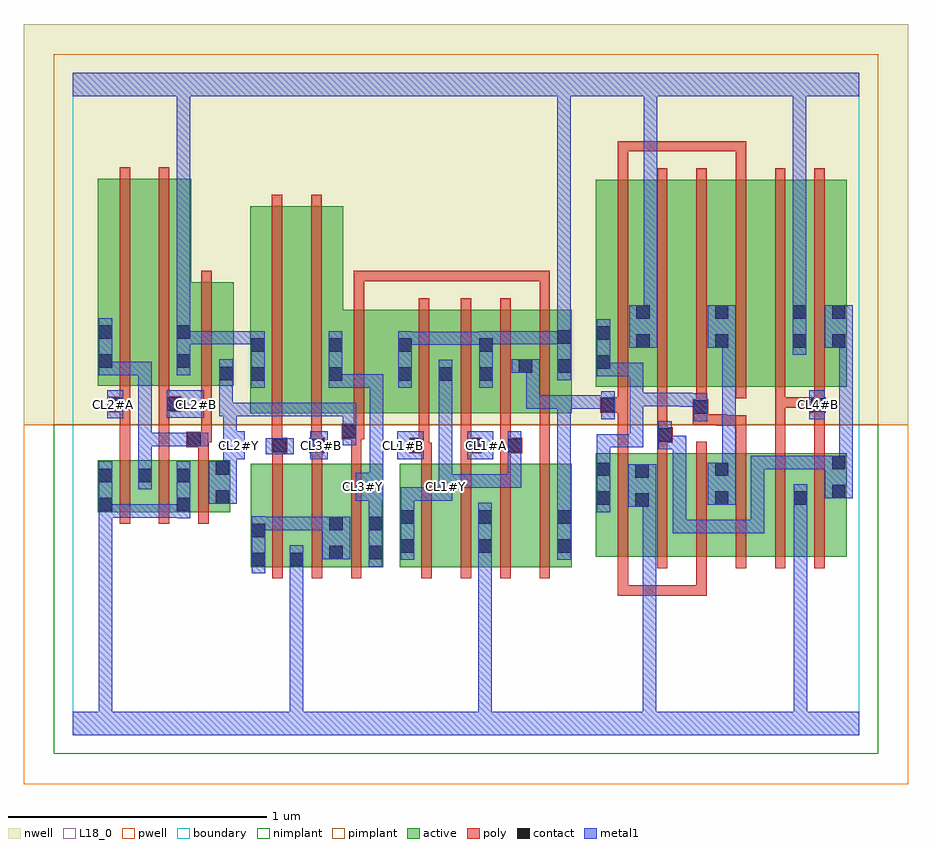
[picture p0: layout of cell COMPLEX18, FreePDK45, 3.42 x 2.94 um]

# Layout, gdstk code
import gdstk
lib = gdstk.Library(unit=1e-6, precision=1e-09)
def R(c, l, rs):  # rectangles x0, y0, x1, y1
    for r in rs: c.add(gdstk.rectangle(r[:2], r[2:], *l))
def A(c, l, x, y, w, h, nx, ny, dx, dy):  # array of equal rectangles
    R(c, l, [(x+i*dx, y+j*dy, x+i*dx+w, y+j*dy+h) for i in range(nx) for j in range(ny)])
active = (1, 0)
pwell = (2, 0)
nwell = (3, 0)
nimplant = (4, 0)
pimplant = (5, 0)
poly = (9, 0)
contact = (10, 0)
metal1 = (11, 0)
L18_0 = (18, 0)
boundary = (235, 0)

complex18 = lib.new_cell('COMPLEX18')
R(complex18, active, [(0.688,0.65,0.896,1.05), (0.688,0.65,0.748,1.05), (0.836,0.65,1.048,1.05), (0.836,0.65,0.896,0.71), (0.988,0.65,1.048,1.05), (0.988,0.65,1.2,1.05), (1.14,0.65,1.2,1.05), (1.264,0.65,1.444,1.05), (1.264,0.65,1.324,1.05), (1.444,0.65,1.624,1.05), (1.564,0.65,1.748,1.05), (1.748,0.65,1.928,1.05), (1.868,0.65,1.928,1.05), (2.022,0.69,2.23,1.09), (2.022,0.69,2.082,1.09), (2.17,0.69,2.354,1.09), (2.17,0.69,2.23,1.09), (2.354,0.69,2.538,1.09), (2.478,0.69,2.658,1.09), (2.478,0.69,2.538,1.09), (2.658,0.69,2.842,1.09), (2.782,0.69,2.99,1.09), (1.564,0.702,1.624,1.05), (2.782,0.756,2.842,0.946), (2.93,0.756,2.99,1.09), (0.098,0.862,0.158,1.062), (0.098,0.862,0.31,1.062), (0.25,0.862,0.458,1.062), (0.25,0.862,0.31,1.034), (0.398,0.862,0.458,1.062), (0.398,0.862,0.61,1.062), (0.55,0.862,0.61,1.062), (0.686,1.244,0.866,2.044), (0.686,1.244,0.746,2.044), (0.866,1.244,1.046,2.044), (0.986,1.244,1.046,1.644), (0.986,1.244,1.314,1.644), (1.254,1.244,1.314,1.644), (1.254,1.244,1.47,1.644), (1.41,1.244,1.47,1.644), (1.41,1.244,1.628,1.644), (1.568,1.244,1.628,1.644), (1.568,1.244,1.78,1.644), (1.72,1.244,1.928,1.644), (1.72,1.244,1.78,1.644), (1.868,1.244,1.928,1.644), (2.022,1.346,2.082,2.044), (2.022,1.346,2.234,2.146), (2.174,1.346,2.234,2.044), (2.174,1.346,2.354,2.146), (2.354,1.346,2.538,2.146), (2.478,1.346,2.538,2.044), (2.478,1.346,2.658,2.146), (2.658,1.346,2.838,2.146), (2.778,1.346,2.838,2.044), (2.778,1.346,2.99,2.146), (2.93,1.346,2.99,2.044), (0.098,1.35,0.278,2.15), (0.098,1.35,0.158,2.044), (0.278,1.35,0.458,2.15), (0.398,1.35,0.458,1.644), (0.398,1.35,0.622,1.75), (0.562,1.35,0.622,1.644)])
R(complex18, pwell, [(-0.188,-0.188,3.228,1.2)])
R(complex18, nwell, [(-0.188,1.2,3.228,2.748)])
R(complex18, nimplant, [(-0.072,-0.072,3.112,1.2)])
R(complex18, pimplant, [(-0.072,1.2,3.112,2.632)])
A(complex18, poly, 0.772, 0.606, 0.04, 0.488, 3, 1, 0.152, 0)
A(complex18, poly, 1.348, 0.606, 0.04, 0.488, 4, 1, 0.152, 0)
A(complex18, poly, 2.106, 0.646, 0.04, 0.488, 6, 1, 0.152, 0)
A(complex18, poly, 0.182, 0.818, 0.04, 0.288, 3, 1, 0.152, 0)
A(complex18, poly, 1.348, 1.054, 0.04, 0.076, 4, 1, 0.152, 0)
A(complex18, poly, 1.5, 1.2, 0.04, 0.488, 3, 1, 0.152, 0)
A(complex18, poly, 2.106, 1.302, 0.04, 0.888, 6, 1, 0.152, 0)
R(complex18, poly, [(2.106,0.54,2.146,0.58), (2.106,0.54,2.146,0.58), (2.106,0.54,2.146,0.58), (2.106,0.54,2.146,0.686), (2.106,0.54,2.33,0.58), (2.29,0.54,2.33,0.58), (2.29,0.54,2.33,0.58), (2.29,0.54,2.33,0.58), (2.29,0.54,2.45,0.58), (2.41,0.54,2.45,0.58), (2.41,0.54,2.45,0.686), (0.772,1.054,0.812,1.13), (0.924,1.054,0.964,1.13), (1.076,1.054,1.116,1.184), (0.182,1.066,0.222,1.288), (0.334,1.066,0.374,1.29), (0.486,1.066,0.526,1.152), (0.77,1.09,0.83,1.15), (0.914,1.09,0.974,1.15), (1.3,1.09,1.378,1.15), (1.338,1.09,1.378,1.13), (1.338,1.09,1.388,1.13), (1.5,1.09,1.54,1.13), (1.5,1.09,1.54,1.13), (1.5,1.09,1.58,1.15), (1.652,1.09,1.738,1.15), (1.804,1.09,1.844,1.13), (1.804,1.09,1.844,1.13), (1.804,1.09,1.844,1.13), (1.804,1.09,1.844,1.24), (2.106,1.094,2.146,1.286), (2.258,1.094,2.298,1.17), (2.562,1.094,2.602,1.236), (2.714,1.094,2.754,1.306), (2.866,1.094,2.906,1.286), (0.77,1.11,0.81,1.15), (0.77,1.11,0.81,1.15), (0.77,1.11,0.81,1.24), (0.922,1.11,0.962,1.15), (0.922,1.11,0.962,1.15), (0.922,1.11,0.962,1.24), (1.338,1.11,1.378,1.24), (1.5,1.11,1.54,1.24), (1.652,1.11,1.692,1.15), (1.652,1.11,1.692,1.15), (1.652,1.11,1.692,1.24), (0.44,1.112,0.526,1.172), (2.258,1.13,2.318,1.19), (0.486,1.132,0.526,1.172), (0.486,1.132,0.538,1.172), (0.498,1.132,0.538,1.346), (1.04,1.144,1.126,1.204), (1.076,1.144,1.116,1.184), (1.076,1.144,1.116,1.184), (2.258,1.15,2.298,1.19), (2.258,1.15,2.298,1.19), (2.258,1.15,2.298,1.342), (1.086,1.164,1.126,1.24), (2.486,1.196,2.602,1.236), (2.486,1.196,2.526,1.24), (2.562,1.196,2.602,1.236), (2.562,1.196,2.602,1.236), (2.562,1.196,2.602,1.236), (0.77,1.2,0.81,2.088), (0.922,1.2,0.962,2.088), (1.086,1.2,1.126,1.688), (1.338,1.2,1.378,1.688), (2.396,1.2,2.456,1.298), (2.416,1.2,2.526,1.24), (2.038,1.246,2.146,1.306), (2.106,1.246,2.146,1.286), (2.106,1.246,2.146,1.286), (2.85,1.246,2.91,1.306), (0.14,1.248,0.222,1.308), (0.334,1.25,0.374,1.29), (0.334,1.25,0.374,1.29), (0.334,1.25,0.42,1.31), (2.41,1.258,2.45,1.342), (2.106,1.266,2.146,1.342), (2.714,1.266,2.754,1.342), (2.714,1.266,2.754,1.306), (2.714,1.266,2.754,1.306), (2.714,1.266,2.754,1.306), (2.714,1.266,2.754,1.306), (2.714,1.266,2.754,1.306), (2.714,1.266,2.906,1.306), (2.866,1.266,2.906,1.342), (2.866,1.266,2.906,1.306), (2.866,1.266,2.906,1.306), (0.182,1.268,0.222,1.308), (0.182,1.268,0.222,1.308), (0.182,1.268,0.222,1.346), (0.334,1.27,0.374,1.346), (0.182,1.306,0.222,2.194), (0.334,1.306,0.374,2.194), (0.498,1.306,0.538,1.794), (1.086,1.648,1.126,1.794), (1.804,1.648,1.844,1.794), (1.086,1.754,1.126,1.794), (1.086,1.754,1.126,1.794), (1.086,1.754,1.126,1.794), (1.086,1.754,1.232,1.794), (1.192,1.754,1.232,1.794), (1.192,1.754,1.232,1.794), (1.192,1.754,1.232,1.794), (1.192,1.754,1.338,1.794), (1.298,1.754,1.338,1.794), (1.298,1.754,1.338,1.794), (1.298,1.754,1.338,1.794), (1.298,1.754,1.494,1.794), (1.454,1.754,1.494,1.794), (1.454,1.754,1.494,1.794), (1.454,1.754,1.494,1.794), (1.454,1.754,1.844,1.794), (1.804,1.754,1.844,1.794), (1.804,1.754,1.844,1.794), (1.804,1.754,1.844,1.794), (2.106,2.15,2.146,2.296), (2.562,2.15,2.602,2.296), (2.106,2.256,2.146,2.296), (2.106,2.256,2.146,2.296), (2.106,2.256,2.146,2.296), (2.106,2.256,2.33,2.296), (2.29,2.256,2.33,2.296), (2.29,2.256,2.33,2.296), (2.29,2.256,2.33,2.296), (2.29,2.256,2.436,2.296), (2.396,2.256,2.436,2.296), (2.396,2.256,2.602,2.296), (2.562,2.256,2.602,2.296), (2.562,2.256,2.602,2.296), (2.562,2.256,2.602,2.296)])
R(complex18, contact, [(0.692,0.654,0.744,0.706), (0.84,0.654,0.892,0.706), (0.992,0.68,1.044,0.732), (1.144,0.68,1.196,0.732), (1.268,0.706,1.32,0.758), (1.568,0.706,1.62,0.758), (1.872,0.706,1.924,0.758), (0.692,0.766,0.744,0.818), (0.992,0.792,1.044,0.844), (1.144,0.792,1.196,0.844), (1.268,0.818,1.32,0.87), (1.568,0.818,1.62,0.87), (1.872,0.818,1.924,0.87), (0.102,0.866,0.154,0.918), (0.402,0.866,0.454,0.918), (2.174,0.884,2.226,0.936), (2.026,0.89,2.078,0.942), (2.482,0.89,2.534,0.942), (2.786,0.89,2.838,0.942), (0.554,0.894,0.606,0.946), (2.934,0.916,2.986,0.968), (0.102,0.978,0.154,1.03), (0.254,0.978,0.306,1.03), (0.402,0.978,0.454,1.03), (2.174,0.996,2.226,1.048), (2.026,1.002,2.078,1.054), (2.482,1.002,2.534,1.054), (0.554,1.006,0.606,1.058), (2.934,1.028,2.986,1.08), (0.774,1.094,0.826,1.146), (0.918,1.094,0.97,1.146), (1.304,1.094,1.356,1.146), (1.524,1.094,1.576,1.146), (1.682,1.094,1.734,1.146), (0.444,1.116,0.496,1.168), (2.262,1.134,2.314,1.186), (1.044,1.148,1.096,1.2), (2.4,1.242,2.452,1.294), (2.042,1.25,2.094,1.302), (2.854,1.25,2.906,1.302), (0.144,1.252,0.196,1.304), (0.364,1.254,0.416,1.306), (0.69,1.37,0.742,1.422), (0.99,1.37,1.042,1.422), (1.258,1.37,1.31,1.422), (1.414,1.37,1.466,1.422), (1.572,1.37,1.624,1.422), (0.566,1.372,0.618,1.424), (1.724,1.4,1.776,1.452), (1.872,1.4,1.924,1.452), (2.026,1.416,2.078,1.468), (0.102,1.42,0.154,1.472), (0.402,1.42,0.454,1.472), (0.69,1.482,0.742,1.534), (0.99,1.482,1.042,1.534), (1.258,1.482,1.31,1.534), (1.572,1.482,1.624,1.534), (2.178,1.498,2.23,1.55), (2.482,1.498,2.534,1.55), (2.782,1.498,2.834,1.55), (2.934,1.498,2.986,1.55), (1.872,1.512,1.924,1.564), (2.026,1.528,2.078,1.58), (0.102,1.532,0.154,1.584), (0.402,1.532,0.454,1.584), (2.178,1.61,2.23,1.662), (2.482,1.61,2.534,1.662), (2.782,1.61,2.834,1.662), (2.934,1.61,2.986,1.662)])
A(complex18, metal1, 0.692, 0.792, 0.052, 0.052, 3, 1, 0.11, 0)
R(complex18, metal1, [(0,0,3.04,0.092), (0.102,0.04,0.154,0.092), (0.102,0.04,0.154,0.092), (0.102,0.04,0.154,0.092), (0.102,0.04,0.154,0.092), (0.102,0.04,0.154,0.89), (0.84,0.04,0.892,0.092), (0.84,0.04,0.892,0.092), (0.84,0.04,0.892,0.092), (0.84,0.04,0.892,0.092), (0.84,0.04,0.892,0.092), (0.84,0.04,0.892,0.092), (0.84,0.04,0.892,0.092), (0.84,0.04,0.892,0.092), (0.84,0.04,0.892,0.092), (0.84,0.04,0.892,0.092), (0.84,0.04,0.892,0.678), (1.568,0.04,1.62,0.092), (1.568,0.04,1.62,0.092), (1.568,0.04,1.62,0.092), (1.568,0.04,1.62,0.092), (1.568,0.04,1.62,0.73), (2.202,0.04,2.254,0.092), (2.202,0.04,2.254,0.092), (2.202,0.04,2.254,0.092), (2.202,0.04,2.254,0.092), (2.202,0.04,2.254,0.092), (2.202,0.04,2.254,0.092), (2.202,0.04,2.254,0.092), (2.202,0.04,2.254,0.092), (2.202,0.04,2.254,0.832), (2.786,0.04,2.838,0.092), (2.786,0.04,2.838,0.092), (2.786,0.04,2.838,0.092), (2.786,0.04,2.838,0.092), (2.786,0.04,2.838,0.092), (2.786,0.04,2.838,0.092), (2.786,0.04,2.838,0.092), (2.786,0.04,2.838,0.092), (2.786,0.04,2.838,0.092), (2.786,0.04,2.838,0.092), (2.786,0.04,2.838,0.914), (0.692,0.626,0.744,0.846), (0.84,0.626,0.892,0.678), (0.84,0.626,0.892,0.678), (0.84,0.626,0.892,0.734), (1.144,0.652,1.196,0.872), (1.268,0.678,1.32,0.898), (1.568,0.678,1.62,0.73), (1.568,0.678,1.62,0.73), (1.568,0.678,1.62,0.73), (1.568,0.678,1.62,0.73), (1.568,0.678,1.62,0.73), (1.568,0.678,1.62,0.73), (1.568,0.678,1.62,0.73), (1.568,0.678,1.62,0.73), (1.568,0.678,1.62,0.898), (1.872,0.678,1.924,0.898), (0.964,0.68,1.072,0.844), (2.202,0.78,2.254,0.832), (2.202,0.78,2.254,0.832), (2.202,0.78,2.254,0.832), (2.202,0.78,2.254,0.936), (2.318,0.78,2.37,0.832), (2.318,0.78,2.562,0.832), (2.318,0.78,2.37,1.158), (2.51,0.78,2.562,0.832), (2.51,0.78,2.562,0.832), (2.51,0.78,2.562,0.832), (2.51,0.78,2.672,0.832), (2.62,0.78,2.672,0.832), (2.62,0.78,2.672,0.832), (2.62,0.78,2.672,0.832), (2.62,0.78,2.672,1.08), (0.692,0.792,0.744,0.844), (0.692,0.792,0.854,0.844), (0.802,0.792,0.964,0.844), (0.912,0.792,1.016,0.844), (1.144,0.82,1.196,0.958), (0.102,0.838,0.154,0.89), (0.102,0.838,0.154,0.89), (0.102,0.838,0.154,0.89), (0.102,0.838,0.154,0.89), (0.102,0.838,0.154,0.89), (0.102,0.838,0.154,0.89), (0.102,0.838,0.154,0.89), (0.102,0.838,0.154,0.89), (0.102,0.838,0.154,0.89), (0.102,0.838,0.154,0.89), (0.102,0.838,0.154,0.89), (0.102,0.838,0.154,0.89), (0.102,0.838,0.154,1.058), (0.402,0.838,0.454,1.058), (0.102,0.84,0.154,0.892), (0.102,0.84,0.154,0.892), (0.102,0.84,0.344,0.892), (0.292,0.84,0.344,0.892), (0.292,0.84,0.344,0.892), (0.292,0.84,0.344,0.892), (0.292,0.84,0.454,0.892), (1.268,0.846,1.32,0.958), (1.872,0.846,1.924,1.314), (2.026,0.862,2.078,1.082), (2.786,0.862,2.838,0.914), (2.786,0.862,2.838,0.914), (2.786,0.862,2.838,0.97), (2.146,0.884,2.254,1.048), (2.454,0.89,2.562,1.054), (0.526,0.894,0.634,1.058), (1.094,0.906,1.2,1.014), (1.268,0.906,1.32,0.958), (1.268,0.906,1.32,0.958), (1.268,0.906,1.32,0.958), (1.268,0.906,1.466,0.958), (1.414,0.906,1.466,1.014), (2.906,0.916,3.014,1.08), (0.254,0.95,0.306,1.058), (1.414,0.956,1.466,1.008), (1.414,0.956,1.466,1.008), (1.414,0.956,1.576,1.008), (1.524,0.956,1.576,1.008), (1.524,0.956,1.734,1.008), (1.682,0.956,1.734,1.174), (1.148,0.962,1.2,1.014), (1.148,0.962,1.2,1.014), (1.148,0.962,1.2,1.394), (1.414,0.962,1.466,1.014), (1.414,0.962,1.466,1.014), (1.414,0.962,1.466,1.394), (2.51,1.002,2.562,1.054), (2.51,1.002,2.562,1.054), (2.51,1.002,2.562,1.054), (2.51,1.002,2.562,1.054), (2.51,1.002,2.562,1.55), (0.254,1.006,0.306,1.168), (0.582,1.006,0.634,1.118), (2.62,1.028,2.672,1.08), (2.62,1.028,2.788,1.08), (2.736,1.028,2.788,1.08), (2.736,1.028,2.788,1.08), (2.736,1.028,2.788,1.08), (2.736,1.028,2.958,1.08), (2.906,1.028,2.958,1.08), (2.906,1.028,2.958,1.08), (2.962,1.028,3.014,1.08), (2.962,1.028,3.014,1.08), (2.962,1.028,3.014,1.55), (2.026,1.03,2.078,1.164), (0.582,1.066,0.666,1.174), (0.918,1.066,0.986,1.174), (1.254,1.066,1.356,1.174), (1.524,1.066,1.626,1.174), (0.746,1.086,0.854,1.148), (2.262,1.106,2.314,1.214), (2.262,1.106,2.37,1.158), (2.318,1.106,2.37,1.158), (2.318,1.106,2.37,1.158), (2.318,1.106,2.37,1.158), (2.026,1.112,2.078,1.164), (2.026,1.112,2.078,1.164), (2.026,1.112,2.078,1.164), (2.026,1.112,2.204,1.164), (2.152,1.112,2.204,1.164), (2.152,1.112,2.204,1.324), (0.254,1.116,0.306,1.168), (0.254,1.116,0.306,1.168), (0.254,1.116,0.306,1.168), (0.254,1.116,0.468,1.168), (0.254,1.116,0.306,1.444), (0.416,1.116,0.468,1.168), (0.416,1.116,0.468,1.168), (0.416,1.116,0.524,1.168), (1.044,1.12,1.096,1.284), (0.582,1.122,0.634,1.284), (2.4,1.214,2.452,1.322), (2.042,1.222,2.094,1.33), (2.846,1.222,2.906,1.334), (0.134,1.224,0.196,1.334), (0.364,1.226,0.506,1.334), (0.566,1.232,0.618,1.396), (0.566,1.232,0.634,1.284), (0.582,1.232,0.634,1.284), (0.582,1.232,0.634,1.284), (0.582,1.232,0.854,1.284), (0.802,1.232,0.854,1.284), (0.802,1.232,0.854,1.284), (0.802,1.232,0.854,1.284), (0.802,1.232,0.964,1.284), (0.912,1.232,0.964,1.284), (0.912,1.232,0.964,1.284), (0.912,1.232,0.964,1.284), (0.912,1.232,1.096,1.284), (1.752,1.262,1.804,1.314), (1.752,1.262,1.804,1.314), (1.752,1.262,1.804,1.314), (1.752,1.262,1.924,1.314), (1.752,1.262,1.804,1.452), (1.872,1.262,1.924,1.314), (1.872,1.262,1.924,1.314), (1.872,1.262,1.924,1.314), (1.872,1.262,1.924,1.314), (1.872,1.262,1.924,1.314), (1.872,1.262,2.094,1.314), (2.344,1.27,2.452,1.322), (2.344,1.27,2.396,1.324), (2.152,1.272,2.204,1.324), (2.152,1.272,2.204,1.324), (2.152,1.272,2.204,1.324), (2.152,1.272,2.396,1.324), (2.152,1.272,2.204,1.44), (0.69,1.342,0.742,1.562), (0.99,1.342,1.042,1.562), (0.99,1.342,1.196,1.394), (1.144,1.342,1.196,1.394), (1.144,1.342,1.2,1.394), (1.148,1.342,1.2,1.394), (1.258,1.342,1.31,1.562), (1.414,1.342,1.466,1.45), (1.572,1.342,1.624,1.562), (0.566,1.344,0.618,1.452), (1.872,1.372,1.924,1.592), (2.026,1.388,2.078,1.44), (2.026,1.388,2.078,1.44), (2.026,1.388,2.078,1.608), (2.026,1.388,2.204,1.44), (2.152,1.388,2.204,1.44), (0.102,1.392,0.154,1.444), (0.102,1.392,0.154,1.444), (0.102,1.392,0.154,1.444), (0.102,1.392,0.154,1.444), (0.102,1.392,0.154,1.612), (0.102,1.392,0.306,1.444), (0.254,1.392,0.306,1.444), (0.402,1.392,0.454,1.612), (1.696,1.4,1.804,1.452), (2.782,1.47,2.834,1.69), (2.15,1.498,2.258,1.662), (2.454,1.498,2.562,1.662), (2.906,1.498,3.014,1.662), (2.962,1.498,3.014,1.55), (2.962,1.498,3.014,1.55), (1.258,1.508,1.31,1.56), (1.258,1.508,1.31,1.56), (1.258,1.508,1.466,1.56), (1.414,1.508,1.466,1.56), (1.414,1.508,1.466,1.56), (1.414,1.508,1.466,1.56), (1.414,1.508,1.624,1.56), (0.402,1.51,0.454,1.562), (0.402,1.51,0.454,1.562), (0.402,1.51,0.578,1.562), (0.526,1.51,0.578,1.562), (0.526,1.51,0.742,1.562), (1.572,1.51,1.624,1.562), (1.572,1.51,1.624,1.562), (1.572,1.51,1.736,1.562), (1.684,1.51,1.736,1.562), (1.684,1.51,1.736,1.562), (1.684,1.51,1.736,1.562), (1.684,1.51,1.924,1.562), (1.872,1.54,1.924,1.592), (1.872,1.54,1.924,1.592), (1.872,1.54,1.924,1.592), (1.872,1.54,1.924,1.592), (1.872,1.54,1.924,1.592), (1.872,1.54,1.924,1.592), (1.872,1.54,1.924,2.52), (0.402,1.56,0.454,2.52), (2.206,1.61,2.258,1.662), (2.206,1.61,2.258,1.662), (2.206,1.61,2.258,1.662), (2.206,1.61,2.258,1.662), (2.206,1.61,2.258,1.662), (2.206,1.61,2.258,1.662), (2.206,1.61,2.258,1.662), (2.206,1.61,2.258,1.662), (2.206,1.61,2.258,2.52), (2.782,1.638,2.834,2.52), (0,2.468,3.04,2.56), (0.402,2.468,0.454,2.52), (0.402,2.468,0.454,2.52), (0.402,2.468,0.454,2.52), (0.402,2.468,0.454,2.52), (0.402,2.468,0.454,2.52), (0.402,2.468,0.454,2.52), (0.402,2.468,0.454,2.52), (0.402,2.468,0.454,2.52), (1.872,2.468,1.924,2.52), (1.872,2.468,1.924,2.52), (1.872,2.468,1.924,2.52), (1.872,2.468,1.924,2.52), (1.872,2.468,1.924,2.52), (1.872,2.468,1.924,2.52), (1.872,2.468,1.924,2.52), (1.872,2.468,1.924,2.52), (1.872,2.468,1.924,2.52), (1.872,2.468,1.924,2.52), (2.782,2.468,2.834,2.52), (2.782,2.468,2.834,2.52), (2.782,2.468,2.834,2.52), (2.782,2.468,2.834,2.52), (2.782,2.468,2.834,2.52), (2.782,2.468,2.834,2.52), (2.782,2.468,2.834,2.52), (2.782,2.468,2.834,2.52)])
A(complex18, L18_0, 0.614, 1.094, 0.052, 0.052, 3, 1, 0.16, 0)
R(complex18, L18_0, [(0,0,3.04,0.092), (0.102,0.04,0.154,0.092), (0.102,0.04,0.154,0.092), (0.102,0.04,0.154,0.092), (0.102,0.04,0.154,0.092), (0.102,0.04,0.154,0.89), (0.84,0.04,0.892,0.092), (0.84,0.04,0.892,0.092), (0.84,0.04,0.892,0.092), (0.84,0.04,0.892,0.092), (0.84,0.04,0.892,0.092), (0.84,0.04,0.892,0.092), (0.84,0.04,0.892,0.092), (0.84,0.04,0.892,0.092), (0.84,0.04,0.892,0.092), (0.84,0.04,0.892,0.092), (0.84,0.04,0.892,0.678), (1.568,0.04,1.62,0.092), (1.568,0.04,1.62,0.092), (1.568,0.04,1.62,0.092), (1.568,0.04,1.62,0.092), (1.568,0.04,1.62,0.73), (2.202,0.04,2.254,0.092), (2.202,0.04,2.254,0.092), (2.202,0.04,2.254,0.092), (2.202,0.04,2.254,0.092), (2.202,0.04,2.254,0.092), (2.202,0.04,2.254,0.092), (2.202,0.04,2.254,0.092), (2.202,0.04,2.254,0.092), (2.202,0.04,2.254,0.832), (2.786,0.04,2.838,0.092), (2.786,0.04,2.838,0.092), (2.786,0.04,2.838,0.092), (2.786,0.04,2.838,0.092), (2.786,0.04,2.838,0.092), (2.786,0.04,2.838,0.092), (2.786,0.04,2.838,0.092), (2.786,0.04,2.838,0.092), (2.786,0.04,2.838,0.092), (2.786,0.04,2.838,0.092), (2.786,0.04,2.838,0.914), (0.84,0.626,0.892,0.678), (0.84,0.626,0.892,0.678), (0.84,0.626,0.892,0.734), (1.144,0.652,1.196,0.872), (1.268,0.678,1.32,0.898), (1.568,0.678,1.62,0.73), (1.568,0.678,1.62,0.73), (1.568,0.678,1.62,0.73), (1.568,0.678,1.62,0.73), (1.568,0.678,1.62,0.73), (1.568,0.678,1.62,0.73), (1.568,0.678,1.62,0.73), (1.568,0.678,1.62,0.73), (1.568,0.678,1.62,0.898), (2.202,0.78,2.254,0.832), (2.202,0.78,2.254,0.832), (2.202,0.78,2.254,0.832), (2.202,0.78,2.254,0.936), (1.144,0.82,1.196,0.958), (0.102,0.838,0.154,0.89), (0.102,0.838,0.154,0.89), (0.102,0.838,0.154,0.89), (0.102,0.838,0.154,0.89), (0.102,0.838,0.154,0.89), (0.102,0.838,0.154,0.89), (0.102,0.838,0.154,0.89), (0.102,0.838,0.154,0.89), (0.102,0.838,0.154,0.89), (0.102,0.838,0.154,0.89), (0.102,0.838,0.154,0.89), (0.102,0.838,0.154,0.89), (0.102,0.838,0.154,1.058), (0.402,0.838,0.454,1.058), (0.102,0.84,0.154,0.892), (0.102,0.84,0.154,0.892), (0.102,0.84,0.344,0.892), (0.292,0.84,0.344,0.892), (0.292,0.84,0.344,0.892), (0.292,0.84,0.344,0.892), (0.292,0.84,0.454,0.892), (1.268,0.846,1.32,0.958), (2.786,0.862,2.838,0.914), (2.786,0.862,2.838,0.914), (2.786,0.862,2.838,0.97), (2.146,0.884,2.254,1.048), (0.526,0.894,0.634,1.058), (1.094,0.906,1.2,1.014), (1.268,0.906,1.32,0.958), (1.268,0.906,1.32,0.958), (1.268,0.906,1.32,0.958), (1.268,0.906,1.466,0.958), (1.414,0.906,1.466,1.014), (1.094,0.934,1.146,0.986), (1.414,0.934,1.466,0.986), (1.414,0.956,1.466,1.008), (1.414,0.956,1.466,1.008), (1.414,0.956,1.576,1.008), (1.524,0.956,1.576,1.008), (1.524,0.956,1.734,1.008), (1.682,0.956,1.734,1.174), (1.148,0.962,1.2,1.014), (1.148,0.962,1.2,1.014), (1.148,0.962,1.2,1.394), (1.414,0.962,1.466,1.014), (1.414,0.962,1.466,1.014), (1.414,0.962,1.466,1.394), (0.582,1.006,0.634,1.118), (0.582,1.066,0.666,1.174), (0.918,1.066,0.986,1.174), (1.254,1.066,1.356,1.174), (1.524,1.066,1.626,1.174), (0.746,1.086,0.854,1.148), (1.254,1.094,1.306,1.146), (1.574,1.094,1.626,1.146), (1.044,1.12,1.096,1.284), (0.582,1.122,0.634,1.284), (2.846,1.222,2.906,1.334), (0.134,1.224,0.196,1.334), (0.364,1.226,0.506,1.334), (0.566,1.232,0.634,1.284), (0.566,1.232,0.618,1.396), (0.582,1.232,0.634,1.284), (0.582,1.232,0.634,1.284), (0.582,1.232,0.854,1.284), (0.802,1.232,0.854,1.284), (0.802,1.232,0.854,1.284), (0.802,1.232,0.854,1.284), (0.802,1.232,0.964,1.284), (0.912,1.232,0.964,1.284), (0.912,1.232,0.964,1.284), (0.912,1.232,0.964,1.284), (0.912,1.232,1.096,1.284), (0.134,1.254,0.186,1.306), (0.454,1.254,0.506,1.306), (2.854,1.254,2.906,1.306), (0.69,1.342,0.742,1.562), (0.99,1.342,1.042,1.562), (0.99,1.342,1.196,1.394), (1.144,1.342,1.196,1.394), (1.144,1.342,1.2,1.394), (1.148,1.342,1.2,1.394), (1.258,1.342,1.31,1.562), (1.414,1.342,1.466,1.45), (1.572,1.342,1.624,1.562), (0.566,1.344,0.618,1.452), (1.872,1.372,1.924,1.592), (0.402,1.392,0.454,1.612), (2.782,1.47,2.834,1.69), (2.15,1.498,2.258,1.662), (1.258,1.508,1.31,1.56), (1.258,1.508,1.31,1.56), (1.258,1.508,1.466,1.56), (1.414,1.508,1.466,1.56), (1.414,1.508,1.466,1.56), (1.414,1.508,1.466,1.56), (1.414,1.508,1.624,1.56), (0.402,1.51,0.454,1.562), (0.402,1.51,0.454,1.562), (0.402,1.51,0.578,1.562), (0.526,1.51,0.578,1.562), (0.526,1.51,0.742,1.562), (1.572,1.51,1.624,1.562), (1.572,1.51,1.624,1.562), (1.572,1.51,1.736,1.562), (1.684,1.51,1.736,1.562), (1.684,1.51,1.736,1.562), (1.684,1.51,1.736,1.562), (1.684,1.51,1.924,1.562), (1.872,1.54,1.924,1.592), (1.872,1.54,1.924,1.592), (1.872,1.54,1.924,1.592), (1.872,1.54,1.924,1.592), (1.872,1.54,1.924,1.592), (1.872,1.54,1.924,1.592), (1.872,1.54,1.924,2.52), (0.402,1.56,0.454,2.52), (2.206,1.61,2.258,1.662), (2.206,1.61,2.258,1.662), (2.206,1.61,2.258,1.662), (2.206,1.61,2.258,1.662), (2.206,1.61,2.258,1.662), (2.206,1.61,2.258,1.662), (2.206,1.61,2.258,1.662), (2.206,1.61,2.258,1.662), (2.206,1.61,2.258,2.52), (2.782,1.638,2.834,2.52), (0,2.468,3.04,2.56), (0.402,2.468,0.454,2.52), (0.402,2.468,0.454,2.52), (0.402,2.468,0.454,2.52), (0.402,2.468,0.454,2.52), (0.402,2.468,0.454,2.52), (0.402,2.468,0.454,2.52), (0.402,2.468,0.454,2.52), (0.402,2.468,0.454,2.52), (1.872,2.468,1.924,2.52), (1.872,2.468,1.924,2.52), (1.872,2.468,1.924,2.52), (1.872,2.468,1.924,2.52), (1.872,2.468,1.924,2.52), (1.872,2.468,1.924,2.52), (1.872,2.468,1.924,2.52), (1.872,2.468,1.924,2.52), (1.872,2.468,1.924,2.52), (1.872,2.468,1.924,2.52), (2.782,2.468,2.834,2.52), (2.782,2.468,2.834,2.52), (2.782,2.468,2.834,2.52), (2.782,2.468,2.834,2.52), (2.782,2.468,2.834,2.52), (2.782,2.468,2.834,2.52), (2.782,2.468,2.834,2.52), (2.782,2.468,2.834,2.52)])
R(complex18, boundary, [(0,0,3.04,2.56)])
complex18.add(gdstk.Label('CL1#A', (1.6,1.12), layer=11, texttype=0))
complex18.add(gdstk.Label('CL1#B', (1.28,1.12), layer=11, texttype=0))
complex18.add(gdstk.Label('CL1#Y', (1.44,0.96), layer=11, texttype=0))
complex18.add(gdstk.Label('CL2#A', (0.16,1.28), layer=11, texttype=0))
complex18.add(gdstk.Label('CL2#B', (0.48,1.28), layer=11, texttype=0))
complex18.add(gdstk.Label('CL2#Y', (0.64,1.12), layer=11, texttype=0))
complex18.add(gdstk.Label('CL3#A', (0.8,1.12), layer=11, texttype=0))
complex18.add(gdstk.Label('CL3#B', (0.96,1.12), layer=11, texttype=0))
complex18.add(gdstk.Label('CL3#Y', (1.12,0.96), layer=11, texttype=0))
complex18.add(gdstk.Label('CL4#B', (2.88,1.28), layer=11, texttype=0))

lib.write_gds('COMPLEX18.gds')
